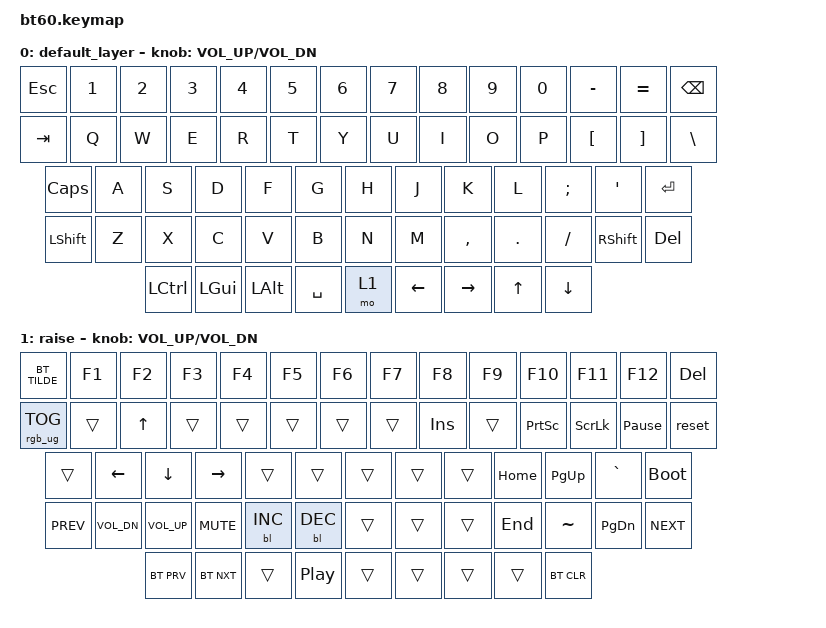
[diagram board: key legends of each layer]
#include <behaviors.dtsi>
#include <dt-bindings/zmk/keys.h>
#include <dt-bindings/zmk/bt.h>
#include <dt-bindings/zmk/rgb.h>
#include <dt-bindings/zmk/backlight.h>

/ {
	keymap {
		compatible = "zmk,keymap";

		default_layer {
				// ------------------------------------------------------------------------------------------
				// |  `  |  1  |  2  |  3  |  4  |  5  |  6  |  7  |  8  |  9  |  0  |  -  |  =  |   BKSP
				// | TAB  |  Q  |  W  |  E  |  R  |  T  |  Y  |  U  |  I  |  O  |  P  |  [  |  ]  |   |
				// | CAPS  |  A  |  S  |  D  |  F  |  G  |  H  |  J  |  K  |  L  |  ;  |  '  |     ENTER
				// |  SHIFT    |  Z  |  X  |  C  |  V  |  B  |  N  |  M  |  ,  |  .  | /   |      SHIFT
				// |  CTL  |  WIN  |  ALT  |            SPACE               | ALT | 1    |  MENU    |  CTRL
				// ------------------------------------------------------------------------------------------
			bindings = <

				&kp ESC &kp N1 &kp N2 &kp N3 &kp N4 &kp N5 &kp N6 &kp N7 &kp  N8   &kp  N9 &kp  N0  &kp MINUS &kp EQUAL &kp BSPC
				&kp TAB  &kp Q  &kp W  &kp E  &kp R  &kp T  &kp Y  &kp U  &kp  I    &kp  O  &kp  P   &kp LBKT &kp RBKT   &kp BSLH
				&kp CAPS  &kp A  &kp S  &kp D  &kp F  &kp G  &kp H  &kp J  &kp  K    &kp  L  &kp SEMI &kp SQT            &kp RET
				&kp LSHFT  &kp Z  &kp X  &kp C  &kp V  &kp B  &kp N  &kp M  &kp COMMA &kp DOT &kp FSLH                   &kp RSHFT &kp DEL
				&kp LCTRL &kp LGUI &kp LALT            &kp SPACE                          &mo 1  &kp LEFT &kp RIGHT  &kp UP &kp DOWN
			>;
			sensor-bindings = <&inc_dec_kp C_VOL_UP C_VOL_DN>;
		};
		raise {
			bindings = <
				&bt TILDE &kp F1 &kp F2 &kp F3 &kp F4 &kp F5 &kp F6 &kp F7 &kp F8 &kp F9 &kp F10 &kp F11 &kp F12 &kp DEL
				&rgb_ug RGB_TOG &trans &kp UP &trans &trans &trans &trans &trans &kp INS &trans &kp PSCRN &kp SLCK &kp PAUSE_BREAK &reset
				&trans    &kp LEFT &kp DOWN &kp RIGHT &trans &trans &trans &trans &trans &kp HOME  &kp PG_UP &kp GRAVE   &bootloader
				&kp C_PREV &kp C_VOL_DN &kp C_VOL_UP &kp C_MUTE &bl BL_INC &bl BL_DEC &trans &trans &trans &kp END &kp TILDE &kp PG_DN  &kp C_NEXT
				&bt BT_PRV &bt BT_NXT  &trans              &kp C_PLAY_PAUSE                            &trans   &trans   &trans &trans &bt BT_CLR
			>;
			sensor-bindings = <&inc_dec_kp C_VOL_UP C_VOL_DN>;
		};
	};
};
